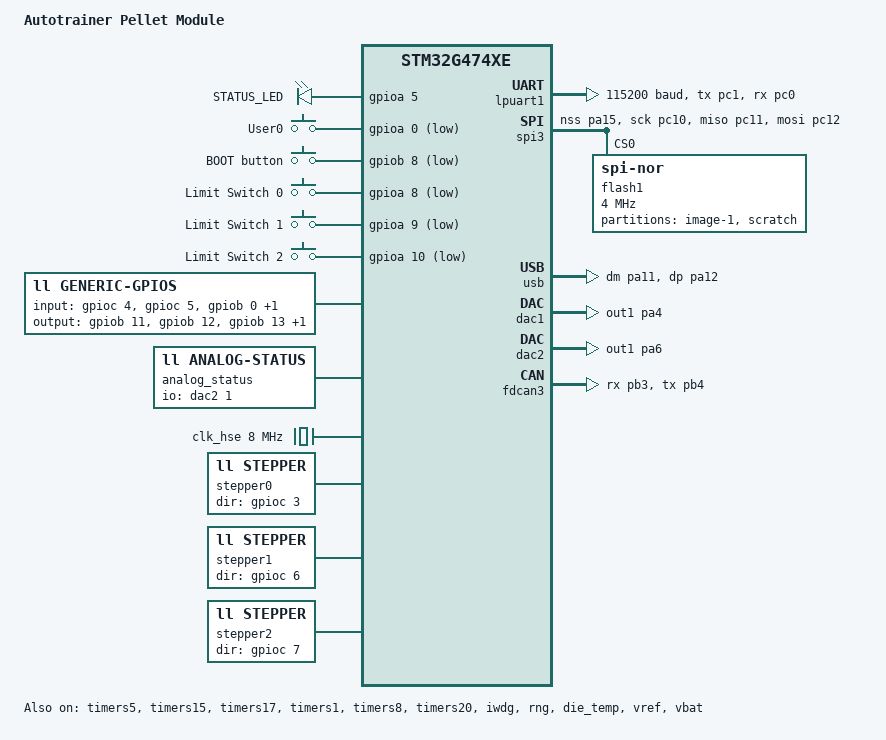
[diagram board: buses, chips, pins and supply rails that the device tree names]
/dts-v1/;
#include <st/g4/stm32g474Xe.dtsi>
#include <st/g4/stm32g474r(b-c-e)tx-pinctrl.dtsi>
#include <zephyr/dt-bindings/input/input-event-codes.h>

/ {
	model = "Autotrainer Pellet Module";
	compatible = "cerebellumlab,pellet-module";

	chosen {
		zephyr,console = &lpuart1;
		zephyr,shell-uart = &cdc_acm_uart0;
		zephyr,sram = &sram0;
		zephyr,flash = &flash0;
		zephyr,canbus = &fdcan3;
		zephyr,code-partition = &slot0_partition;
	};

	leds {
		compatible = "gpio-leds";
		status = "okay";

		status_led: led_1 {
			gpios = <&gpioa 5 GPIO_ACTIVE_HIGH>;
			label = "STATUS_LED";
		};
	};

	gpio_keys {
		compatible = "gpio-keys";

		user_button0: button0 {
			label = "User0";
			gpios = <&gpioa 0 GPIO_ACTIVE_LOW>;
			zephyr,code = <INPUT_KEY_0>;
		};

		boot_button: boot_button {
			label = "BOOT button";
			gpios = <&gpiob 8 GPIO_ACTIVE_LOW>;
			zephyr,code = <INPUT_KEY_1>;
		};

		limit_switch0: limit_switch0 {
			label = "Limit Switch 0";
			gpios = <&gpioa 8 GPIO_ACTIVE_LOW>;
			zephyr,code = <INPUT_KEY_2>;
		};

		limit_switch1: limit_switch1 {
			label = "Limit Switch 1";
			gpios = <&gpioa 9 GPIO_ACTIVE_LOW>;
			zephyr,code = <INPUT_KEY_3>;
		};

		limit_switch2: limit_switch2 {
			label = "Limit Switch 2";
			gpios = <&gpioa 10 GPIO_ACTIVE_LOW>;
			zephyr,code = <INPUT_KEY_4>;
		};
	};

	generic-gpios {
		status = "okay";
		compatible = "ll,generic-gpios";
		input-gpios = <&gpioc 4 GPIO_ACTIVE_HIGH>,
					  <&gpioc 5 GPIO_ACTIVE_HIGH>,
					  <&gpiob 0 GPIO_ACTIVE_HIGH>,
					  <&gpiob 1 GPIO_ACTIVE_HIGH>;
		input-gpio-names = "CAN_ID[0]",
						   "CAN_ID[1]",
						   "CAN_ID[2]",
						   "CAN_ID[3]";
		output-gpios = <&gpiob 11 GPIO_ACTIVE_HIGH>,
					   <&gpiob 12 GPIO_ACTIVE_HIGH>,
					   <&gpiob 13 GPIO_ACTIVE_HIGH>,
					   <&gpiob 14 GPIO_ACTIVE_HIGH>;
		output-gpio-names = "STIM0",
						    "STIM1",
						    "STIM2",
						    "STIM3";
	};

	tone_generator {
		compatible = "ll,tone-generator";

		sample-rate-timer = <&timers2>;

		dac = <&dac1>;

		dac-channel = <1>;

		dmas = <&dmamux1 6 6 STM32_DMA_PRIORITY_HIGH>;
		dma-names = "tx";

		status = "okay";
	};

	analog_status: analog_status {
		compatible = "ll,analog-status";
		status = "okay";
		io-channels = <&dac2 1>;
		resolution = <12>;
	};

	aliases {
		led0 = &status_led;
		mcuboot-led0 = &status_led;
		watchdog0 = &iwdg;
	};
};

&clk_lsi {
	status = "okay";
};

&clk_hsi48 {
	status = "okay";
};

&clk_hse {
	clock-frequency = <DT_FREQ_M(8)>;
	status = "okay";
	hse-bypass;
};

&pll {
	div-m = <2>;
	mul-n = <85>;
	div-p = <2>;
	div-q = <2>;
	div-r = <2>;
	clocks = <&clk_hse>;
	status = "okay";
};

&rcc {
	clocks = <&pll>;
	clock-frequency = <DT_FREQ_M(170)>;
	ahb-prescaler = <1>;
	apb1-prescaler = <1>;
	apb2-prescaler = <1>;
};

&lpuart1 {
	pinctrl-0 = <&lpuart1_tx_pc1 &lpuart1_rx_pc0>;
	pinctrl-names = "default";
	current-speed = <115200>;
	status = "okay";
};

&dma1 {
	status = "okay";
};

&dmamux1 {
	status = "okay";
};

&timers5 {
	status = "okay";
	st,prescaler = <84>; // 170 MHz / (84 + 1) = 2 MHz

	servo0: servo0 {
		compatible = "ll,servo";
		status = "okay";

		pinctrl-0 = <&tim5_ch2_pa1>;
		pinctrl-names = "default";

		pwm-channel = <2>;

		dmas = <&dmamux1 0 76 STM32_DMA_PRIORITY_MEDIUM>;
		dma-names = "tx";
	};
};

&timers15 {
	status = "okay";
	st,prescaler = <84>; // 170 MHz / (84 + 1) = 2 MHz

	servo1: servo1 {
		compatible = "ll,servo";
		status = "okay";

		pinctrl-0 = <&tim15_ch2_pb15>;
		pinctrl-names = "default";

		pwm-channel = <2>;

		dmas = <&dmamux1 1 79 STM32_DMA_PRIORITY_MEDIUM>;
		dma-names = "tx";
	};
};

&timers17 {
	status = "okay";
	st,prescaler = <84>; // 170 MHz / (84 + 1) = 2 MHz

	servo2: servo2 {
		compatible = "ll,servo";
		status = "okay";

		pinctrl-0 = <&tim17_ch1_pb9>;
		pinctrl-names = "default";

		pwm-channel = <1>;

		dmas = <&dmamux1 2 85 STM32_DMA_PRIORITY_MEDIUM>;
		dma-names = "tx";
	};
};

&timers1 {
	status = "okay";
	st,prescaler = <849>; // 170 MHz / (849 + 1) = 200 kHz

	stepper0: stepper0 {
		compatible = "ll,stepper";
		status = "okay";

		pinctrl-0 = <&tim1_ch3_pc2>;
		pinctrl-names = "default";

		// Direction Pin
		dir-gpios = <&gpioc 3 GPIO_ACTIVE_HIGH>;

		// PWM Channel to use
		pwm-channel = <3>;

		dmas = <&dmamux1 3 46 STM32_DMA_PRIORITY_MEDIUM>;
		dma-names = "tx";
	};
};

&timers8 {
	status = "okay";
	st,prescaler = <849>; // 170 MHz / (849 + 1) = 200 kHz

	stepper1: stepper1 {
		compatible = "ll,stepper";
		status = "okay";

		pinctrl-0 = <&tim8_ch4_pc9>;
		pinctrl-names = "default";

		// Direction Pin
		dir-gpios = <&gpioc 6 GPIO_ACTIVE_HIGH>;

		// PWM Channel to use
		pwm-channel = <4>;

		dmas = <&dmamux1 4 53 STM32_DMA_PRIORITY_MEDIUM>;
		dma-names = "tx";
	};
};

&timers20 {
	status = "okay";
	st,prescaler = <849>; // 170 MHz / (849 + 1) = 200 kHz

	stepper2: stepper2 {
		compatible = "ll,stepper";
		status = "okay";

		pinctrl-0 = <&tim20_ch3_pc8>;
		pinctrl-names = "default";

		// Direction Pin
		dir-gpios = <&gpioc 7 GPIO_ACTIVE_HIGH>;

		// PWM Channel to use
		pwm-channel = <3>;

		dmas = <&dmamux1 5 90 STM32_DMA_PRIORITY_MEDIUM>;
		dma-names = "tx";
	};
};

&spi3 {
	pinctrl-0 = <&spi3_nss_pa15 &spi3_sck_pc10
				 &spi3_miso_pc11 &spi3_mosi_pc12>;
	pinctrl-names = "default";
	status = "okay";

	flash1: external_flash@0 {
		status = "okay";
		compatible = "jedec,spi-nor";
		reg = <0>;
		spi-max-frequency = <4000000>;
		size = <0x8000000>;
		has-dpd;
		t-enter-dpd = <3000>;
		t-exit-dpd = <30000>;
		jedec-id = [ef 40 15]; // For W25Q16JV

		partitions {
			compatible = "fixed-partitions";
			#address-cells = <1>;
			#size-cells = <1>;

			slot1_partition: partition@0 {
				label = "image-1";
				reg = <0x00000000 DT_SIZE_K(444)>;
			};

			scratch_partition: partition@80000 {
				label = "scratch";
				reg = <0x00080000 DT_SIZE_K(512)>;
			};
		};
	};
};

&flash0 {
	partitions {
		compatible = "fixed-partitions";
		#address-cells = <1>;
		#size-cells = <1>;

		boot_partition: partition@0 {
			label = "mcuboot";
			reg = <0x00000000 DT_SIZE_K(64)>;
		};

		slot0_partition: partition@10000 {
			label = "image-0";
			reg = <0x00010000 DT_SIZE_K(444)>;
		};

		/* Set 4Kb of storage at the end of the 512Kb of flash */
		storage_partition: partition@7f000 {
			label = "storage";
			reg = <0x0007f000 DT_SIZE_K(4)>;
		};
	};
};

&usb {
	pinctrl-0 = <&usb_dm_pa11 &usb_dp_pa12>;
	pinctrl-names = "default";
	status = "okay";

	cdc_acm_uart0: cdc_acm_uart0 {
		compatible = "zephyr,cdc-acm-uart";
		status = "okay";
	};
};

&iwdg {
	status = "okay";
};

&rng {
	status = "okay";
};

&dac1 {
	pinctrl-0 = <&dac1_out1_pa4>;
	pinctrl-names = "default";
	status = "okay";
};

&dac2 {
	pinctrl-0 = <&dac2_out1_pa6>;
	pinctrl-names = "default";
	status = "okay";
};

&die_temp {
	status = "okay";
};

&fdcan3 {
	clocks = <&rcc STM32_CLOCK_BUS_APB1 0x02000000>,
			 <&rcc STM32_SRC_PCLK FDCAN_SEL(1)>;
	pinctrl-0 = <&fdcan3_rx_pb3 &fdcan3_tx_pb4>;
	pinctrl-names = "default";
	status = "okay";
};

/ {
	tone_generator {
		compatible = "ll,tone-generator";

		sample-rate-timer = <&timers2>;

		dac = <&dac1>;

		dac-channel = <1>;

		dmas = <&dmamux1 6 6 STM32_DMA_PRIORITY_HIGH>;
		dma-names = "tx";

		status = "okay";
	};
};

&vref {
	status = "okay";
};

&vbat {
	status = "okay";
};
